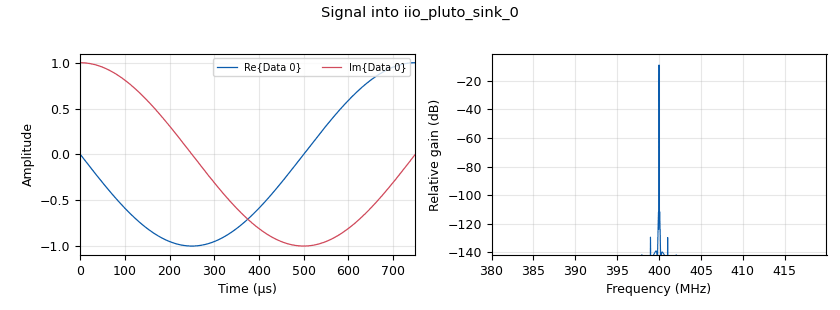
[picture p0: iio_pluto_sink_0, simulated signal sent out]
options:
  parameters:
    author: analog
    generate_options: qt_gui
    id: Pluto_ADAR1000_Radar
    output_language: python
    title: Not titled yet
  states: {}

blocks:
- name: pluto_freq
  id: variable
  parameters:
    value: '400000000'
  states: {}
- name: samp_rate
  id: variable
  parameters:
    value: '40000000'
  states: {}
- name: analog_sig_source_x_0
  id: analog_sig_source_x
  parameters:
    amp: '1'
    freq: '1000'
    offset: '0'
    phase: '0'
    samp_rate: samp_rate
    type: complex
    waveform: analog.GR_COS_WAVE
  states: {}
- name: iio_pluto_sink_0
  id: iio_pluto_sink
  parameters:
    attenuation1: '10.0'
    auto_filter: 'True'
    bandwidth: int(samp_rate)
    buffer_size: '32768'
    cyclic: 'False'
    frequency: int(pluto_freq)
    samplerate: int(samp_rate)
  states: {}
- name: iio_pluto_source_0
  id: iio_pluto_source
  parameters:
    auto_filter: 'True'
    bandwidth: int(samp_rate)
    bbdc: 'True'
    buffer_size: '32768'
    frequency: int(pluto_freq)
    gain1: '''manual'''
    manual_gain1: '20'
    quadrature: 'True'
    rfdc: 'True'
    samplerate: int(samp_rate)
  states: {}
- name: qtgui_sink_x_0
  id: qtgui_sink_x
  parameters:
    bw: samp_rate
    fc: '0'
    fftsize: '1024'
    type: complex
    wintype: firdes.WIN_BLACKMAN_hARRIS
  states: {}

connections:
- [analog_sig_source_x_0, '0', iio_pluto_sink_0, '0']
- [iio_pluto_source_0, '0', qtgui_sink_x_0, '0']

metadata:
  file_format: 1
